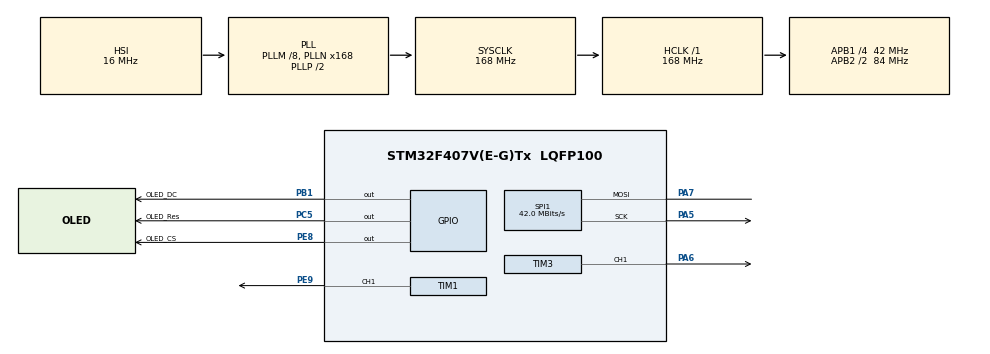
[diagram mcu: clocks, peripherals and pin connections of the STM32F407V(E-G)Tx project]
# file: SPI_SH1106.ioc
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Mcu.Family=STM32F4
Mcu.Name=STM32F407V(E-G)Tx
Mcu.Package=LQFP100
NVIC.PriorityGroup=NVIC_PRIORITYGROUP_4
PA5.Mode=Simplex_Bidirectional_Master
PA5.Signal=SPI1_SCK
PA6.Signal=S_TIM3_CH1
PA7.Mode=Simplex_Bidirectional_Master
PA7.Signal=SPI1_MOSI
PB1.GPIO_Label=OLED_DC
PB1.GPIO_Speed=GPIO_SPEED_FREQ_VERY_HIGH
PB1.Signal=GPIO_Output
PC14-OSC32_IN.Mode=LSE-External-Oscillator
PC14-OSC32_IN.Signal=RCC_OSC32_IN
PC15-OSC32_OUT.Mode=LSE-External-Oscillator
PC15-OSC32_OUT.Signal=RCC_OSC32_OUT
PC5.GPIO_Label=OLED_Res
PC5.GPIO_Speed=GPIO_SPEED_FREQ_VERY_HIGH
PC5.Signal=GPIO_Output
PE8.GPIO_Label=OLED_CS
PE8.GPIO_Speed=GPIO_SPEED_FREQ_VERY_HIGH
PE8.Signal=GPIO_Output
PE9.Signal=S_TIM1_CH1
PH0-OSC_IN.Mode=HSE-External-Oscillator
PH0-OSC_IN.Signal=RCC_OSC_IN
PH1-OSC_OUT.Mode=HSE-External-Oscillator
PH1-OSC_OUT.Signal=RCC_OSC_OUT
ProjectManager.HeapSize=0x200
ProjectManager.StackSize=0x400
ProjectManager.TargetToolchain=Makefile
RCC.48MHZClocksFreq_Value=84000000
RCC.AHBFreq_Value=168000000
RCC.APB1CLKDivider=RCC_HCLK_DIV4
RCC.APB1Freq_Value=42000000
RCC.APB1TimFreq_Value=84000000
RCC.APB2CLKDivider=RCC_HCLK_DIV2
RCC.APB2Freq_Value=84000000
RCC.APB2TimFreq_Value=168000000
RCC.CortexFreq_Value=168000000
RCC.HCLKFreq_Value=168000000
RCC.HSE_VALUE=8000000
RCC.HSI_VALUE=16000000
RCC.PLLM=8
RCC.PLLN=168
RCC.SYSCLKFreq_VALUE=168000000
RCC.SYSCLKSource=RCC_SYSCLKSOURCE_PLLCLK
RCC.VCOOutputFreq_Value=336000000
SH.S_TIM1_CH1.0=TIM1_CH1,PWM Generation1 CH1
SH.S_TIM3_CH1.0=TIM3_CH1,PWM Generation1 CH1
SPI1.CalculateBaudRate=42.0 MBits/s
SPI1.Direction=SPI_DIRECTION_1LINE
SPI1.Mode=SPI_MODE_MASTER
SPI1.VirtualType=VM_MASTER
TIM1.Channel-PWM\ Generation1\ CH1=TIM_CHANNEL_1
TIM1.Period=9999
TIM1.Prescaler=167
TIM3.Channel-PWM\ Generation1\ CH1=TIM_CHANNEL_1
TIM3.Period=9999
TIM3.Prescaler=167
VP_TIM1_VS_ClockSourceINT.Mode=Internal
VP_TIM3_VS_ClockSourceINT.Mode=Internal
board=custom

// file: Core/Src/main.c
/* USER CODE BEGIN Header */
/**
  ******************************************************************************
  * @file           : main.c
  * @brief          : Main program body
  ******************************************************************************
  * @attention
  *
  * Copyright (c) 2024 STMicroelectronics.
  * All rights reserved.
  *
  * This software is licensed under terms that can be found in the LICENSE file
  * in the root directory of this software component.
  * If no LICENSE file comes with this software, it is provided AS-IS.
  *
  ******************************************************************************
  */
/* USER CODE END Header */
#include "main.h"
#include "spi.h"
#include "tim.h"
#include "gpio.h"

/* USER CODE BEGIN Includes */
#include "sh1106.h"
#include "sh1106_fonts.h"
#include "sh1106_bitmap.h"
/* USER CODE END Includes */

/* USER CODE BEGIN PV */
//array for heartbeats
uint16_t val[]={101, 101, 104, 104, 106, 103, 107, 106, 105, 104, 109, 112, 119, 122, 121, 123, 125, 125, 129, 128, 127, 122,
        121, 123, 115, 120, 113, 119, 111, 112, 109, 107, 104, 107, 102, 107, 105, 98, 102, 102, 99, 98, 97, 100, 101,
        96, 93, 92, 91, 81, 77, 76, 72, 64, 42, 38, 37, 36, 32, 17, 11, 10, 9, 16, 10, 9, 1, 4, 0, 8, 80, 79, 78, 77,
        72, 71, 112, 111, 110, 109, 108, 107, 106, 105, 120, 103, 100, 99, 98, 97, 162, 161, 124, 123, 160, 159, 156,
        155, 154, 224, 223, 222, 221, 214, 213, 212, 204, 203, 255, 254, 253, 252, 251, 250, 249, 247, 246, 245, 220,
        219, 218, 217, 282, 281, 264, 263, 256, 243, 242, 241, 240, 239, 238, 237, 236, 235, 234, 233, 295, 294, 280,
        279, 278, 277, 276, 275, 274, 268, 267, 264, 263, 348, 347, 374, 373, 372, 371, 367, 366, 365, 368, 367, 346,
        343, 470, 454, 453, 452, 451, 450, 449, 474, 456, 455, 454, 453, 452, 451, 450, 449, 448, 447, 446, 445, 444,
        443, 432, 431, 430, 428, 427, 426, 425, 424, 423, 422, 421, 326, 325, 324, 298, 297, 295, 294, 272, 271, 270,
        269, 295, 294, 267, 200, 199, 256, 255, 254, 247, 246, 245, 244, 243, 242, 241, 240, 239, 238, 237, 236, 177,
        176, 175, 167, 166, 165, 164, 163, 165, 164, 163, 162, 161, 123, 122, 121, 120, 119, 118, 117, 116, 115, 114,
        113, 110, 109, 108, 107, 106, 105, 88, 87, 86, 85, 84, 53, 65, 64, 61, 64, 63, 75, 79, 74, 72, 77, 86, 85, 81,
        80, 94, 92, 91, 95, 101, 95, 94, 93, 106, 106, 106, 106, 104, 104, 104, 104, 104, 104, 104, 104, 103, 105, 103,
        105, 103, 105, 103, 103, 103, 103, 106, 106, 105, 106, 106, 106, 106, 106, 104, 104, 103, 103, 109, 108, 101,
        105, 117, 113, 117, 116, 111, 110, 119, 113, 120, 136, 135, 124, 129, 128, 153, 154, 156, 159, 158, 162, 167,
        177, 176, 175, 174, 177, 178, 185, 180, 183, 186, 187, 185, 186, 184, 182, 182, 179, 175, 179, 177, 176, 174,
        173, 171, 170, 171, 169, 166, 164, 170, 165, 163, 164, 160, 157, 157, 153, 155, 151, 148, 147, 149, 151, 145,
        149, 144, 142, 144, 143, 137, 136, 139, 138, 137, 138, 135, 134, 129, 127, 126, 129, 128, 125, 130, 127, 123,
        122, 116, 118, 116, 114, 122, 112, 120, 113, 110, 113, 108, 116, 112, 109, 109, 109, 109, 108, 106, 107, 107,
        107, 106, 106, 106, 109, 109, 109, 109, 109, 109, 107, 109, 107, 109, 107, 109, 109, 109, 109, 108, 106, 109,
        108, 106, 109, 108, 106, 109, 108, 106, 109, 108, 106, 109, 108, 106, 109, 108, 106, 109, 108, 106, 109, 108,
        106, 109, 108, 106, 109, 108, 106, 109, 108, 106, 109, 108, 106, 109, 108, 106, 109, 108, 106, 109, 109, 107,
        109, 107, 109, 107, 109, 107, 109, 107, 109, 107, 109, 107, 109, 107, 109, 107, 109, 107, 109, 107, 109, 107,
        109, 107, 109, 107, 109, 107, 109, 107, 109, 107, 109, 107, 109, 107, 109, 107, 109, 107, 109, 109, 109, 109,
        106, 109, 108, 106, 109, 106, 109, 106, 109, 108, 106, 111, 109, 108, 106, 112, 111, 106, 113, 112, 111, 110,
        109, 106, 109, 106, 116, 118, 120, 126, 121, 122, 123, 116, 115, 121, 116, 113, 119, 115, 112, 116, 116, 110,
        112, 109, 108, 107, 104, 103, 101,};
uint16_t dutyCycle = 0;
uint16_t pwmPeriod = 10000;
/* USER CODE END PV */

void SystemClock_Config(void);

int main(void)
{

  /* MCU Configuration--------------------------------------------------------*/

  /* Reset of all peripherals, Initializes the Flash interface and the Systick. */
  HAL_Init();

  /* Configure the system clock */
  SystemClock_Config();

  /* Initialize all configured peripherals */
  MX_GPIO_Init();
  MX_SPI1_Init();
  MX_TIM1_Init();
  MX_TIM3_Init();
  /* USER CODE BEGIN 2 */
  SH1106_Init();
  HAL_TIM_Base_Start(&htim1);
  HAL_TIM_Base_Start(&htim3);

  HAL_TIM_PWM_Start(&htim1,TIM_CHANNEL_1);
  HAL_TIM_PWM_Start(&htim3,TIM_CHANNEL_1);

  // SH1106_SetCursor(0,0);
  // SH1106_Fill(Black);
  // SH1106_WriteString("3kb",Font_16x26,White);
  // SH1106_UpdateScreen();
  /* USER CODE END 2 */

  /* Infinite loop */
  /* USER CODE BEGIN WHILE */
  while (1)
  {
    // for (uint8_t i = 0; i < 15; i++)
    // {
    //   SH1106_Fill(Black);
    //   SH1106_DrawBitmap(0, 0, nyanCat[i], 128, 64, White);
    //   SH1106_UpdateScreen();
    //   HAL_Delay(i);
    // }

    //heartbeats
    // for (uint16_t i = 0; i < sizeof(val) / sizeof(val[0]); i++)
    // {
    //   dutyCycle = (val[i] * pwmPeriod) / 255;
    //   htim1.Instance->CCR1 = dutyCycle;
    //   htim3.Instance->CCR1 = dutyCycle;

    //   HAL_Delay(1);
    // }

    //NyanCat running

    for (uint8_t i = 0; i < 15; i++)
    {
      SH1106_Fill(Black);
      SH1106_DrawBitmap(0, 0, nyanCat[i], 128, 64, White);
      SH1106_UpdateScreen();
      HAL_Delay(34);
    }
    /* USER CODE END WHILE */

  }
}

void SystemClock_Config(void)
{
  RCC_OscInitTypeDef RCC_OscInitStruct = {0};
  RCC_ClkInitTypeDef RCC_ClkInitStruct = {0};

  /** Configure the main internal regulator output voltage
  */
  __HAL_RCC_PWR_CLK_ENABLE();
  __HAL_PWR_VOLTAGESCALING_CONFIG(PWR_REGULATOR_VOLTAGE_SCALE1);

  /** Initializes the RCC Oscillators according to the specified parameters
  * in the RCC_OscInitTypeDef structure.
  */
  RCC_OscInitStruct.OscillatorType = RCC_OSCILLATORTYPE_HSI;
  RCC_OscInitStruct.HSIState = RCC_HSI_ON;
  RCC_OscInitStruct.HSICalibrationValue = RCC_HSICALIBRATION_DEFAULT;
  RCC_OscInitStruct.PLL.PLLState = RCC_PLL_ON;
  RCC_OscInitStruct.PLL.PLLSource = RCC_PLLSOURCE_HSI;
  RCC_OscInitStruct.PLL.PLLM = 8;
  RCC_OscInitStruct.PLL.PLLN = 168;
  RCC_OscInitStruct.PLL.PLLP = RCC_PLLP_DIV2;
  RCC_OscInitStruct.PLL.PLLQ = 4;
  if (HAL_RCC_OscConfig(&RCC_OscInitStruct) != HAL_OK)
  {
    Error_Handler();
  }

  /** Initializes the CPU, AHB and APB buses clocks
  */
  RCC_ClkInitStruct.ClockType = RCC_CLOCKTYPE_HCLK|RCC_CLOCKTYPE_SYSCLK
                              |RCC_CLOCKTYPE_PCLK1|RCC_CLOCKTYPE_PCLK2;
  RCC_ClkInitStruct.SYSCLKSource = RCC_SYSCLKSOURCE_PLLCLK;
  RCC_ClkInitStruct.AHBCLKDivider = RCC_SYSCLK_DIV1;
  RCC_ClkInitStruct.APB1CLKDivider = RCC_HCLK_DIV4;
  RCC_ClkInitStruct.APB2CLKDivider = RCC_HCLK_DIV2;

  if (HAL_RCC_ClockConfig(&RCC_ClkInitStruct, FLASH_LATENCY_5) != HAL_OK)
  {
    Error_Handler();
  }
}

void Error_Handler(void)
{
  __disable_irq();
  while (1)
  {
  }
}
